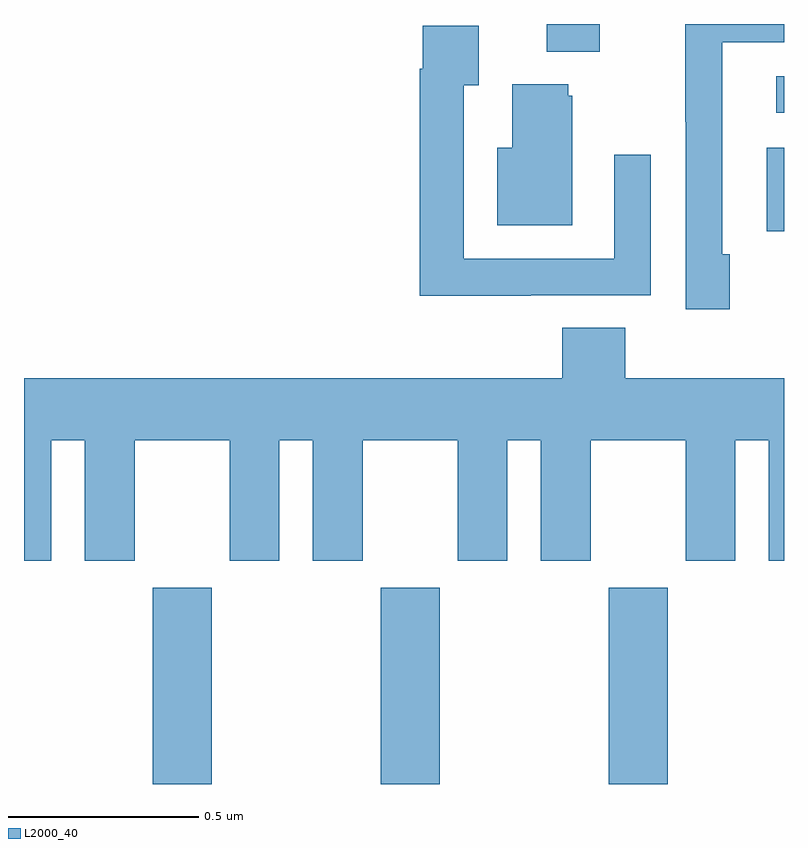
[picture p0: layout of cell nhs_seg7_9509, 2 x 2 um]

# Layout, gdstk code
import gdstk
lib = gdstk.Library(unit=1e-6, precision=1e-09)
def R(c, l, rs):  # rectangles x0, y0, x1, y1
    for r in rs: c.add(gdstk.rectangle(r[:2], r[2:], *l))
def A(c, l, x, y, w, h, nx, ny, dx, dy):  # array of equal rectangles
    R(c, l, [(x+i*dx, y+j*dy, x+i*dx+w, y+j*dy+h) for i in range(nx) for j in range(ny)])
def P(c, l, *ps):  # polygons
    for p in ps: c.add(gdstk.Polygon(p, *l))
L2000_40 = (2000, 40)

nhs_seg7_9509 = lib.new_cell('nhs_seg7_9509')
A(nhs_seg7_9509, L2000_40, 238.339, 1045, 0.155, 0.516, 3, 1, 0.6, 0)
R(nhs_seg7_9509, L2000_40, [(239.954,1046.455,240,1046.674), (239.979,1046.766,240,1046.862), (239.375,1046.927,239.515,1047)])
P(nhs_seg7_9509, L2000_40, [(239.857,1046.394),(239.838,1046.394),(239.838,1046.952),(240,1046.952),(240,1047),(239.74,1047),(239.74,1046.743),(239.742,1046.743),(239.742,1046.25),(239.857,1046.25)],
  [(239.333,1046.286),(239.649,1046.286),(239.649,1046.656),(239.553,1046.656),(239.553,1046.382),(239.157,1046.382),(239.157,1046.839),(239.197,1046.839),(239.197,1046.995),(239.049,1046.995),(239.049,1046.882),(239.041,1046.882),(239.041,1046.285),(239.333,1046.285)],
  [(239.443,1046.811),(239.432,1046.811),(239.432,1046.842),(239.285,1046.842),(239.285,1046.674),(239.246,1046.674),(239.246,1046.471),(239.443,1046.471)],
  [(238.072,1045.904),(238.16,1045.904),(238.16,1045.587),(238.291,1045.587),(238.291,1045.904),(238.541,1045.904),(238.541,1045.587),(238.672,1045.587),(238.672,1045.904),(238.76,1045.904),(238.76,1045.587),(238.891,1045.587),(238.891,1045.904),(239.141,1045.904),(239.141,1045.587),(239.272,1045.587),(239.272,1045.904),(239.36,1045.904),(239.36,1045.587),(239.491,1045.587),(239.491,1045.904),(239.741,1045.904),(239.741,1045.587),(239.872,1045.587),(239.872,1045.904),(239.96,1045.904),(239.96,1045.587),(240,1045.587),(240,1046.068),(239.582,1046.068),(239.582,1046.201),(239.417,1046.201),(239.417,1046.068),(238,1046.068),(238,1045.587),(238.072,1045.587)])

lib.write_gds('nhs_seg7_9509.gds')
